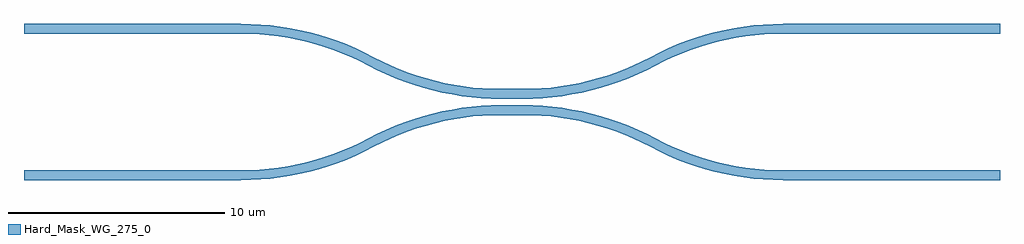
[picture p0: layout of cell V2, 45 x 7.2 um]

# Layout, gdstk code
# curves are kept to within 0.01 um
import gdstk
lib = gdstk.Library(unit=1e-6, precision=1e-09)
def R(c, l, rs):  # rectangles x0, y0, x1, y1
    for r in rs: c.add(gdstk.rectangle(r[:2], r[2:], *l))
def P(c, l, *ps):  # polygons
    for p in ps: c.add(gdstk.Polygon(p, *l))
Hard_Mask_WG_275_0 = (275, 0)

c_v2 = lib.new_cell('V2')
R(c_v2, Hard_Mask_WG_275_0, [(0,0,10,0.45), (35,0,45,0.45), (22,3,23,3.45), (22,3.75,23,4.2), (0,6.75,10,7.2), (35,6.75,45,7.2)])
P(c_v2, Hard_Mask_WG_275_0, [(35,0),(34.545,0.007),(33.64,0.07),(32.741,0.197),(31.853,0.386),(30.981,0.637),(30.128,0.948),(29.298,1.318),(28.894,1.526),(29.106,1.924),(29.894,1.538),(30.706,1.208),(31.12,1.065),(31.962,0.823),(32.819,0.641),(33.687,0.518),(34.562,0.457),(35,0.45)],
  [(28.894,1.526),(28.106,1.912),(27.294,2.242),(26.88,2.385),(26.038,2.627),(25.181,2.809),(24.313,2.932),(23.438,2.993),(23,3),(23,3.45),(23.455,3.443),(24.36,3.38),(25.259,3.253),(26.147,3.064),(27.019,2.813),(27.872,2.502),(28.29,2.324),(29.106,1.924)],
  [(29.106,5.276),(28.894,5.674),(29.709,6.074),(30.127,6.252),(30.98,6.563),(31.853,6.814),(32.741,7.003),(33.641,7.13),(34.546,7.193),(35,7.2),(35,6.75),(34.561,6.743),(33.686,6.682),(32.818,6.559),(31.961,6.377),(31.119,6.134),(30.296,5.834),(29.496,5.476)],
  [(23,3.75),(23,4.2),(23.439,4.207),(24.314,4.268),(25.182,4.391),(26.039,4.573),(26.881,4.816),(27.704,5.116),(28.504,5.474),(28.894,5.674),(29.106,5.276),(28.291,4.876),(27.873,4.698),(27.02,4.387),(26.147,4.136),(25.259,3.947),(24.359,3.82),(23.454,3.757)],
  [(16.106,1.526),(15.894,1.924),(16.709,2.324),(17.127,2.502),(17.98,2.813),(18.853,3.064),(19.741,3.253),(20.641,3.38),(21.546,3.443),(22,3.45),(22,3),(21.561,2.993),(20.686,2.932),(19.818,2.809),(18.961,2.627),(18.119,2.384),(17.296,2.084),(16.496,1.726)],
  [(10,0),(10,0.45),(10.439,0.457),(11.314,0.518),(12.182,0.641),(13.039,0.823),(13.881,1.066),(14.704,1.366),(15.504,1.724),(15.894,1.924),(16.106,1.526),(15.291,1.126),(14.873,0.948),(14.02,0.637),(13.147,0.386),(12.259,0.197),(11.359,0.07),(10.454,0.007)],
  [(22,3.75),(21.545,3.757),(20.64,3.82),(19.741,3.947),(18.853,4.136),(17.981,4.387),(17.128,4.698),(16.298,5.068),(15.894,5.276),(16.106,5.674),(16.894,5.288),(17.706,4.958),(18.12,4.815),(18.962,4.573),(19.819,4.391),(20.687,4.268),(21.562,4.207),(22,4.2)],
  [(15.894,5.276),(15.106,5.662),(14.294,5.992),(13.88,6.135),(13.038,6.377),(12.181,6.559),(11.313,6.682),(10.438,6.743),(10,6.75),(10,7.2),(10.455,7.193),(11.36,7.13),(12.259,7.003),(13.147,6.814),(14.019,6.563),(14.872,6.252),(15.29,6.074),(16.106,5.674)])

lib.write_gds('V2.gds')
